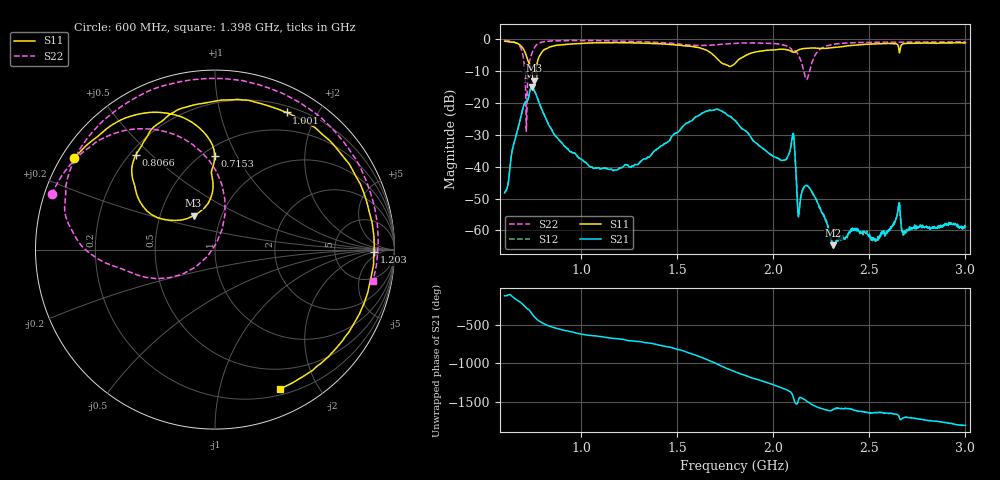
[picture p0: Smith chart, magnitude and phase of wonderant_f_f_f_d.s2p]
#  HZ  S  RI  R  50.00
! Rohde & Schwarz ZVB8 2Ports - Version 2.81 - 1145.1010k08 SN: 100113
! Date: 2016-05-17 22:38:23
! Measurements: S11 S21 S12 S22
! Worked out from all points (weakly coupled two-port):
!   1000 points, 600 MHz to 3 GHz, reference 50 ohm
!   highest |S21| = -15.07 dB at 741.7 MHz (marker M1); lowest = -64.7 dB at 2.313 GHz (marker M2)
!   lowest |S11| = -13.0 dB at 751.4 MHz (marker M3), VSWR 1.57, Z = 36.9 + j14.7 ohm
!   |S11| at or under -10 dB: 739.5 MHz to 762 MHz (22.47 MHz wide, 2.99 % of centre)
!   |S22| runs from -28.8 to -0.4 dB; largest |S21 - S12| = 0.0022
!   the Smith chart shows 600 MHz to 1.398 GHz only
!   S11 on the Smith chart (normalised r, x): 600 MHz: 0.04, +0.30; 715.3 MHz: 0.57, +0.82; 806.6 MHz: 0.22, +0.45; 1.001 GHz: 0.27, +1.62; 1.203 GHz: 16, -2; 1.398 GHz: 0.27, -1.54
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6e8  -0.7839 0.5084  -0.00221 -0.00318  -0.00223 -0.00322  -0.9097 0.3073
6.816817e8  -0.2715 0.7606  -0.0494 0.0258  -0.0494 0.0259  -0.3549 0.6714
7.153153e8  -0.00212 0.5228  0.0339 0.1025  0.0322 0.1032  -0.0426 -0.0379
7.417417e8  -0.0231 0.2884  0.1759 0.0139  0.1759 0.0136  -0.594 -0.0808
7.513514e8  -0.1192 0.1888  0.1458 -0.0723  0.1458 -0.0719  -0.7027 -0.0162
8.066066e8  -0.4396 0.5294  -0.0409 -0.0503  -0.0407 -0.0505  -0.8057 0.4474
1.001201e9  0.3987 0.764  -0.00206 0.0129  -0.00214 0.0128  -0.1478 0.9439
1.203003e9  0.8859 -0.0123  0.0078 0.00556  0.00777 0.00563  0.6311 0.6956
1.397598e9  0.3619 -0.7753  0.0151 -0.0121  0.0151 -0.012  0.8788 -0.176
1.4e9  0.3506 -0.78  0.0149 -0.0125  0.0149 -0.0124  0.875 -0.1885
1.618619e9  -0.6034 -0.4094  -0.0635 0.0167  -0.0636 0.0165  0.0945 -0.7919
1.801201e9  -0.4182 -0.0427  0.0458 -0.0266  0.0459 -0.0262  -0.6839 -0.5303
1.914114e9  -0.5059 0.3905  -0.0134 -0.0187  -0.0134 -0.0187  -0.877 -0.00138
2.067868e9  0.2748 0.6308  -0.00231 0.013  -0.00215 0.013  -0.4517 0.6477
2.101502e9  0.4011 0.4874  0.0317 0.0097  0.0315 0.00967  -0.2217 0.5883
2.135135e9  0.5265 0.4482  0.00214 -0.000178  0.00219 -0.000169  -0.0561 0.5244
2.2e9  0.728 0.0795  -0.000144 -0.0041  -0.000113 -0.00399  -0.3737 0.2122
2.312913e9  0.5707 -0.4782  -0.000538 -0.000217  -0.000555 -0.000265  -0.2176 0.8097
2.601201e9  -0.5998 -0.6186  -0.00084 0.00049  -0.000925 0.000402  0.796 0.4287
2.649249e9  -0.7226 -0.3465  -0.0014 0.00158  -0.00138 0.0016  0.8658 0.2701
2.68048e9  -0.7368 -0.4349  -0.000126 0.00098  -0.000135 0.000925  0.894 0.1622
3e9  -0.6532 0.5868  0.00115 -8e-05  0.00117 -0.000102  0.5385 -0.7382
